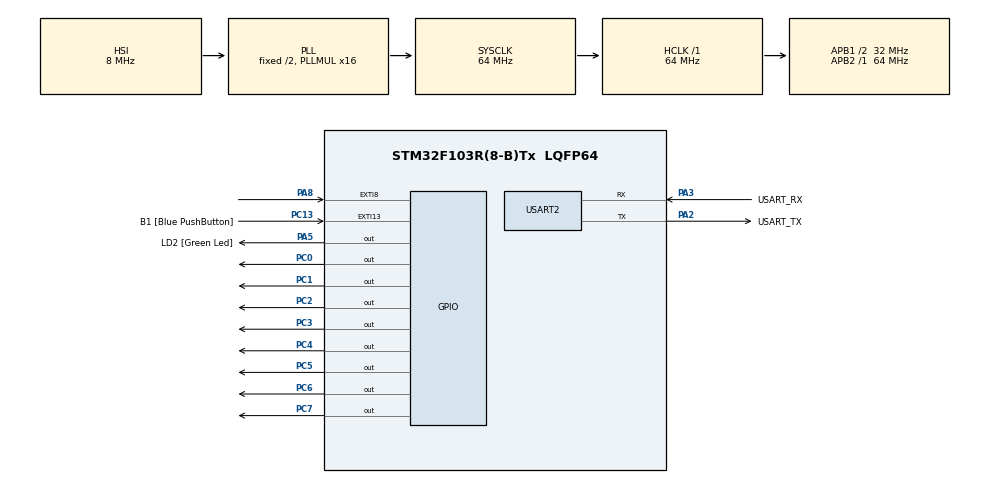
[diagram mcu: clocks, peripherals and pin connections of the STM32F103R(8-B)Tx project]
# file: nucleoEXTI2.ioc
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Mcu.Family=STM32F1
Mcu.Name=STM32F103R(8-B)Tx
Mcu.Package=LQFP64
NVIC.EXTI15_10_IRQn=true\:0\:0\:false\:false\:true\:true\:true\:true
NVIC.EXTI9_5_IRQn=true\:0\:0\:false\:false\:true\:true\:true\:true
NVIC.PriorityGroup=NVIC_PRIORITYGROUP_4
PA13.GPIO_Label=TMS
PA13.Mode=Serial_Wire
PA13.Signal=SYS_JTMS-SWDIO
PA14.GPIO_Label=TCK
PA14.Mode=Serial_Wire
PA14.Signal=SYS_JTCK-SWCLK
PA2.GPIO_Label=USART_TX
PA2.GPIO_Mode=GPIO_MODE_AF_PP
PA2.GPIO_PuPd=GPIO_NOPULL
PA2.GPIO_Speed=GPIO_SPEED_FREQ_LOW
PA2.Mode=Asynchronous
PA2.Signal=USART2_TX
PA3.GPIO_Label=USART_RX
PA3.GPIO_Mode=GPIO_MODE_AF_PP
PA3.GPIO_PuPd=GPIO_NOPULL
PA3.GPIO_Speed=GPIO_SPEED_FREQ_LOW
PA3.Mode=Asynchronous
PA3.Signal=USART2_RX
PA5.GPIO_Label=LD2 [Green Led]
PA5.GPIO_ModeDefaultOutputPP=GPIO_MODE_OUTPUT_PP
PA5.GPIO_PuPd=GPIO_NOPULL
PA5.GPIO_Speed=GPIO_SPEED_FREQ_LOW
PA5.Signal=GPIO_Output
PA8.GPIO_ModeDefaultEXTI=GPIO_MODE_IT_FALLING
PA8.Signal=GPXTI8
PB3.GPIO_Label=SWO
PB3.Signal=SYS_JTDO-TRACESWO
PC0.Signal=GPIO_Output
PC1.Signal=GPIO_Output
PC13-TAMPER-RTC.GPIO_Label=B1 [Blue PushButton]
PC13-TAMPER-RTC.GPIO_PuPd=GPIO_NOPULL
PC13-TAMPER-RTC.Signal=GPXTI13
PC14-OSC32_IN.Mode=LSE-External-Oscillator
PC14-OSC32_IN.Signal=RCC_OSC32_IN
PC15-OSC32_OUT.Mode=LSE-External-Oscillator
PC15-OSC32_OUT.Signal=RCC_OSC32_OUT
PC2.Signal=GPIO_Output
PC3.Signal=GPIO_Output
PC4.Signal=GPIO_Output
PC5.Signal=GPIO_Output
PC6.Signal=GPIO_Output
PC7.Signal=GPIO_Output
PD0-OSC_IN.Mode=HSE-External-Clock-Source
PD0-OSC_IN.Signal=RCC_OSC_IN
PD1-OSC_OUT.Mode=HSE-External-Clock-Source
PD1-OSC_OUT.Signal=RCC_OSC_OUT
ProjectManager.HeapSize=0x200
ProjectManager.StackSize=0x400
ProjectManager.TargetToolchain=STM32CubeIDE
RCC.AHBFreq_Value=64000000
RCC.APB1CLKDivider=RCC_HCLK_DIV2
RCC.APB1Freq_Value=32000000
RCC.APB1TimFreq_Value=64000000
RCC.APB2Freq_Value=64000000
RCC.APB2TimFreq_Value=64000000
RCC.HCLKFreq_Value=64000000
RCC.PLLMUL=RCC_PLL_MUL16
RCC.RTCClockSelection=RCC_RTCCLKSOURCE_LSE
RCC.SYSCLKFreq_VALUE=64000000
RCC.SYSCLKSource=RCC_SYSCLKSOURCE_PLLCLK
RCC.USBFreq_Value=64000000
USART2.VirtualMode=VM_ASYNC
board=NUCLEO-F103RB

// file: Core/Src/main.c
/* USER CODE BEGIN Header */
/**
  ******************************************************************************
  * @file           : main.c
  * @brief          : Main program body
  ******************************************************************************
  * @attention
  *
  * Copyright (c) 2022 STMicroelectronics.
  * All rights reserved.
  *
  * This software is licensed under terms that can be found in the LICENSE file
  * in the root directory of this software component.
  * If no LICENSE file comes with this software, it is provided AS-IS.
  *
  ******************************************************************************
  */
/* USER CODE END Header */
#include "main.h"

 UART_HandleTypeDef huart2;

/* USER CODE BEGIN PV */
uint8_t flag_sw1 = 0;
/* USER CODE END PV */

void SystemClock_Config(void);
static void MX_GPIO_Init(void);
static void MX_USART2_UART_Init(void);

/* USER CODE BEGIN 0 */
void HAL_GPIO_EXTI_Callback(uint16_t GPIO_Pin)
{
	if(GPIO_Pin == GPIO_PIN_8)
	{
		flag_sw1 =1;
	}
	else if (GPIO_Pin == GPIO_PIN_13)
	{
		flag_sw1 =2;

	}
}
/* USER CODE END 0 */

int main(void)
{

  /* MCU Configuration--------------------------------------------------------*/

  /* Reset of all peripherals, Initializes the Flash interface and the Systick. */
  HAL_Init();

  /* Configure the system clock */
  SystemClock_Config();

  /* Initialize all configured peripherals */
  MX_GPIO_Init();
  MX_USART2_UART_Init();
  /* USER CODE BEGIN 2 */
  uint16_t pinNumber = GPIO_PIN_0;
  /* USER CODE END 2 */

  /* Infinite loop */
  while (1)
  {

    /* USER CODE BEGIN 3 */
	  if(flag_sw1 ==0)
		  HAL_GPIO_WritePin(GPIOC, 0xff, GPIO_PIN_SET);

	  if(flag_sw1 ==1)
	  {
		  HAL_GPIO_WritePin(GPIOC, 0xff, GPIO_PIN_RESET);

		  HAL_GPIO_WritePin(GPIOC, pinNumber, GPIO_PIN_SET);
		  HAL_Delay(500);
		  pinNumber <<= 1;
		  if(pinNumber == GPIO_PIN_8) pinNumber = GPIO_PIN_0;

	  }
	  if(flag_sw1 == 2)
	  {
		  HAL_GPIO_WritePin(GPIOC, 0xff, GPIO_PIN_RESET);

		  HAL_GPIO_WritePin(GPIOC, pinNumber, GPIO_PIN_SET);
		  HAL_Delay(500);
		  pinNumber >>= 1;
		  if(pinNumber == 0x00) pinNumber = GPIO_PIN_7;
	  }
  }
  /* USER CODE END 3 */
}

void SystemClock_Config(void)
{
  RCC_OscInitTypeDef RCC_OscInitStruct = {0};
  RCC_ClkInitTypeDef RCC_ClkInitStruct = {0};

  /** Initializes the RCC Oscillators according to the specified parameters
  * in the RCC_OscInitTypeDef structure.
  */
  RCC_OscInitStruct.OscillatorType = RCC_OSCILLATORTYPE_HSI;
  RCC_OscInitStruct.HSIState = RCC_HSI_ON;
  RCC_OscInitStruct.HSICalibrationValue = RCC_HSICALIBRATION_DEFAULT;
  RCC_OscInitStruct.PLL.PLLState = RCC_PLL_ON;
  RCC_OscInitStruct.PLL.PLLSource = RCC_PLLSOURCE_HSI_DIV2;
  RCC_OscInitStruct.PLL.PLLMUL = RCC_PLL_MUL16;
  if (HAL_RCC_OscConfig(&RCC_OscInitStruct) != HAL_OK)
  {
    Error_Handler();
  }

  /** Initializes the CPU, AHB and APB buses clocks
  */
  RCC_ClkInitStruct.ClockType = RCC_CLOCKTYPE_HCLK|RCC_CLOCKTYPE_SYSCLK
                              |RCC_CLOCKTYPE_PCLK1|RCC_CLOCKTYPE_PCLK2;
  RCC_ClkInitStruct.SYSCLKSource = RCC_SYSCLKSOURCE_PLLCLK;
  RCC_ClkInitStruct.AHBCLKDivider = RCC_SYSCLK_DIV1;
  RCC_ClkInitStruct.APB1CLKDivider = RCC_HCLK_DIV2;
  RCC_ClkInitStruct.APB2CLKDivider = RCC_HCLK_DIV1;

  if (HAL_RCC_ClockConfig(&RCC_ClkInitStruct, FLASH_LATENCY_2) != HAL_OK)
  {
    Error_Handler();
  }
}

static void MX_USART2_UART_Init(void)
{

  huart2.Instance = USART2;
  huart2.Init.BaudRate = 115200;
  huart2.Init.WordLength = UART_WORDLENGTH_8B;
  huart2.Init.StopBits = UART_STOPBITS_1;
  huart2.Init.Parity = UART_PARITY_NONE;
  huart2.Init.Mode = UART_MODE_TX_RX;
  huart2.Init.HwFlowCtl = UART_HWCONTROL_NONE;
  huart2.Init.OverSampling = UART_OVERSAMPLING_16;
  if (HAL_UART_Init(&huart2) != HAL_OK)
  {
    Error_Handler();
  }

}

static void MX_GPIO_Init(void)
{
  GPIO_InitTypeDef GPIO_InitStruct = {0};

  /* GPIO Ports Clock Enable */
  __HAL_RCC_GPIOC_CLK_ENABLE();
  __HAL_RCC_GPIOD_CLK_ENABLE();
  __HAL_RCC_GPIOA_CLK_ENABLE();
  __HAL_RCC_GPIOB_CLK_ENABLE();

  /*Configure GPIO pin Output Level */
  HAL_GPIO_WritePin(GPIOC, GPIO_PIN_0|GPIO_PIN_1|GPIO_PIN_2|GPIO_PIN_3
                          |GPIO_PIN_4|GPIO_PIN_5|GPIO_PIN_6|GPIO_PIN_7, GPIO_PIN_RESET);

  /*Configure GPIO pin Output Level */
  HAL_GPIO_WritePin(LD2_GPIO_Port, LD2_Pin, GPIO_PIN_RESET);

  /*Configure GPIO pin : B1_Pin */
  GPIO_InitStruct.Pin = B1_Pin;
  GPIO_InitStruct.Mode = GPIO_MODE_IT_RISING;
  GPIO_InitStruct.Pull = GPIO_NOPULL;
  HAL_GPIO_Init(B1_GPIO_Port, &GPIO_InitStruct);

  /*Configure GPIO pins : PC0 PC1 PC2 PC3
                           PC4 PC5 PC6 PC7 */
  GPIO_InitStruct.Pin = GPIO_PIN_0|GPIO_PIN_1|GPIO_PIN_2|GPIO_PIN_3
                          |GPIO_PIN_4|GPIO_PIN_5|GPIO_PIN_6|GPIO_PIN_7;
  GPIO_InitStruct.Mode = GPIO_MODE_OUTPUT_PP;
  GPIO_InitStruct.Pull = GPIO_NOPULL;
  GPIO_InitStruct.Speed = GPIO_SPEED_FREQ_LOW;
  HAL_GPIO_Init(GPIOC, &GPIO_InitStruct);

  /*Configure GPIO pin : LD2_Pin */
  GPIO_InitStruct.Pin = LD2_Pin;
  GPIO_InitStruct.Mode = GPIO_MODE_OUTPUT_PP;
  GPIO_InitStruct.Pull = GPIO_NOPULL;
  GPIO_InitStruct.Speed = GPIO_SPEED_FREQ_LOW;
  HAL_GPIO_Init(LD2_GPIO_Port, &GPIO_InitStruct);

  /*Configure GPIO pin : PA8 */
  GPIO_InitStruct.Pin = GPIO_PIN_8;
  GPIO_InitStruct.Mode = GPIO_MODE_IT_FALLING;
  GPIO_InitStruct.Pull = GPIO_NOPULL;
  HAL_GPIO_Init(GPIOA, &GPIO_InitStruct);

  /* EXTI interrupt init*/
  HAL_NVIC_SetPriority(EXTI9_5_IRQn, 0, 0);
  HAL_NVIC_EnableIRQ(EXTI9_5_IRQn);

  HAL_NVIC_SetPriority(EXTI15_10_IRQn, 0, 0);
  HAL_NVIC_EnableIRQ(EXTI15_10_IRQn);

}

void Error_Handler(void)
{
  __disable_irq();
  while (1)
  {
  }
}
